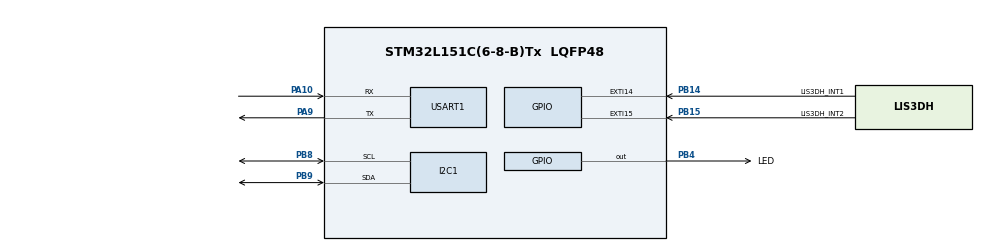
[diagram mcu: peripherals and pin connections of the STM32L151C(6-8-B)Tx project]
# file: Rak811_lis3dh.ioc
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Mcu.Family=STM32L1
Mcu.Name=STM32L151C(6-8-B)Tx
Mcu.Package=LQFP48
NVIC.EXTI15_10_IRQn=true\:0\:0\:false\:false\:true\:true
NVIC.PriorityGroup=NVIC_PRIORITYGROUP_4
PA10.Mode=Asynchronous
PA10.Signal=USART1_RX
PA13.Mode=Serial_Wire
PA13.Signal=SYS_JTMS-SWDIO
PA14.Mode=Serial_Wire
PA14.Signal=SYS_JTCK-SWCLK
PA9.Mode=Asynchronous
PA9.Signal=USART1_TX
PB14.GPIO_Label=LIS3DH_INT1
PB14.GPIO_PuPd=GPIO_PULLUP
PB14.Signal=GPXTI14
PB15.GPIO_Label=LIS3DH_INT2
PB15.GPIO_PuPd=GPIO_PULLUP
PB15.Signal=GPXTI15
PB4.GPIO_Label=LED
PB4.GPIO_Speed=GPIO_SPEED_FREQ_HIGH
PB4.PinState=GPIO_PIN_SET
PB4.Signal=GPIO_Output
PB8.Mode=I2C
PB8.Signal=I2C1_SCL
PB9.Mode=I2C
PB9.Signal=I2C1_SDA
PC14-OSC32_IN.Mode=LSE-External-Oscillator
PC14-OSC32_IN.Signal=RCC_OSC32_IN
PC15-OSC32_OUT.Mode=LSE-External-Oscillator
PC15-OSC32_OUT.Signal=RCC_OSC32_OUT
ProjectManager.HeapSize=0x200
ProjectManager.StackSize=0x400
ProjectManager.TargetToolchain=SW4STM32
RCC.48MHZClocksFreq_Value=32000000
RCC.AHBFreq_Value=32000000
RCC.APB1Freq_Value=32000000
RCC.APB1TimFreq_Value=32000000
RCC.APB2Freq_Value=32000000
RCC.APB2TimFreq_Value=32000000
RCC.HCLKFreq_Value=32000000
RCC.HSE_VALUE=24000000
RCC.HSI_VALUE=16000000
RCC.MSI_VALUE=2097000
RCC.PLLMUL=RCC_PLL_MUL4
RCC.SYSCLKFreq_VALUE=32000000
RCC.SYSCLKSource=RCC_SYSCLKSOURCE_PLLCLK
RCC.VCOOutputFreq_Value=64000000
USART1.VirtualMode=VM_ASYNC
board=custom

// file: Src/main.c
/**
  ******************************************************************************
  * @file           : main.c
  * @brief          : Main program body
  ******************************************************************************
  ** This notice applies to any and all portions of this file
  * that are not between comment pairs USER CODE BEGIN and
  * USER CODE END. Other portions of this file, whether
  * inserted by the user or by software development tools
  * are owned by their respective copyright owners.
  *
  * COPYRIGHT(c) 2018 STMicroelectronics
  *
  * Redistribution and use in source and binary forms, with or without modification,
  * are permitted provided that the following conditions are met:
  *   1. Redistributions of source code must retain the above copyright notice,
  *      this list of conditions and the following disclaimer.
  *   2. Redistributions in binary form must reproduce the above copyright notice,
  *      this list of conditions and the following disclaimer in the documentation
  *      and/or other materials provided with the distribution.
  *   3. Neither the name of STMicroelectronics nor the names of its contributors
  *      may be used to endorse or promote products derived from this software
  *      without specific prior written permission.
  *
  * THIS SOFTWARE IS PROVIDED BY THE COPYRIGHT HOLDERS AND CONTRIBUTORS "AS IS"
  * AND ANY EXPRESS OR IMPLIED WARRANTIES, INCLUDING, BUT NOT LIMITED TO, THE
  * IMPLIED WARRANTIES OF MERCHANTABILITY AND FITNESS FOR A PARTICULAR PURPOSE ARE
  * DISCLAIMED. IN NO EVENT SHALL THE COPYRIGHT HOLDER OR CONTRIBUTORS BE LIABLE
  * FOR ANY DIRECT, INDIRECT, INCIDENTAL, SPECIAL, EXEMPLARY, OR CONSEQUENTIAL
  * DAMAGES (INCLUDING, BUT NOT LIMITED TO, PROCUREMENT OF SUBSTITUTE GOODS OR
  * SERVICES; LOSS OF USE, DATA, OR PROFITS; OR BUSINESS INTERRUPTION) HOWEVER
  * CAUSED AND ON ANY THEORY OF LIABILITY, WHETHER IN CONTRACT, STRICT LIABILITY,
  * OR TORT (INCLUDING NEGLIGENCE OR OTHERWISE) ARISING IN ANY WAY OUT OF THE USE
  * OF THIS SOFTWARE, EVEN IF ADVISED OF THE POSSIBILITY OF SUCH DAMAGE.
  *
  ******************************************************************************
  */
#include "main.h"
#include "stm32l1xx_hal.h"

/* USER CODE BEGIN Includes */
#include "test.h"
#include "lis3dh.h"
#include "lis3dhDebug.h"
/* USER CODE END Includes */

I2C_HandleTypeDef hi2c1;

UART_HandleTypeDef huart1;

/* USER CODE BEGIN PV */
/* Private variables ---------------------------------------------------------*/

/* USER CODE END PV */

void SystemClock_Config(void);
static void MX_GPIO_Init(void);
static void MX_USART1_UART_Init(void);
static void MX_I2C1_Init(void);

/* USER CODE BEGIN PFP */
/* Private function prototypes -----------------------------------------------*/

/* USER CODE END PFP */

int main(void)
{
	/* USER CODE BEGIN 1 */
	status_t lis3dhretCode;
	int8_t temperature;
	uint8_t lis3dhStatus;
	//	uint8_t valueL,valueH;
	//	int16_t lis3dhAccX=-1, lis3dhAccY=-1,lis3dhAccZ=-1;
	AxesRaw_t lis3dhAxes;
	/* USER CODE END 1 */

	/* MCU Configuration----------------------------------------------------------*/

	/* Reset of all peripherals, Initializes the Flash interface and the Systick. */
	HAL_Init();

	/* Configure the system clock */
	SystemClock_Config();

	/* Initialize all configured peripherals */
	MX_GPIO_Init();
	MX_USART1_UART_Init();
	MX_I2C1_Init();
	/* USER CODE BEGIN 2 */
	printf("Rak811 LIS3DH accelerometer demo program\r\n");

	if (LIS3DH_Init())
		printf("main: lis3dh accelerometer successfully initialized\r\n");

	//  lis3dhPrintAllRegs();
	if (LIS3DH_SetODR((LIS3DH_ODR_t) LIS3DH_ODR_1Hz) != MEMS_SUCCESS)
		printf("main: Could not set sampling rate to 1 Hz\r\n");
	else
		printf("main: Sampling rate successfully set to 1 Hz\r\n");

	/*
  if (LIS3DH_SetFullScale(LIS3DH_FULLSCALE_8) != MEMS_SUCCESS)
	  printf("main: Could not set full scale to 8\r\n");
  else
	  printf("main: Full scale successfully set to 8\r\n");
	 */
	/* USER CODE END 2 */

	/* Infinite loop */
	/* USER CODE BEGIN WHILE */
	while (1)
	{
		if ((lis3dhretCode = LIS3DH_GetStatusReg(&lis3dhStatus)) != MEMS_SUCCESS)
			printf("main: Error when reading the status register\r\n");
		else {
			lis3dhretCode = MEMS_SUCCESS;
			printf("main: Status Reg before acceleration readout: 0x%02x\r\n",lis3dhStatus);
			/*
	      if (lis3dhStatus & LIS3DH_ZYXDA) {
	      lis3dhretCode &= LIS3DH_ReadReg(LIS3DH_OUT_X_L, &valueL);
	      lis3dhretCode &= LIS3DH_ReadReg(LIS3DH_OUT_X_H, &valueH);
	      lis3dhAccX = (valueH << 8) | valueL;

	      lis3dhretCode &= LIS3DH_ReadReg(LIS3DH_OUT_Y_L, &valueL);
	      lis3dhretCode &= LIS3DH_ReadReg(LIS3DH_OUT_Y_H, &valueH);
	      lis3dhAccY = (valueH << 8) | valueL;

	      lis3dhretCode &= LIS3DH_ReadReg(LIS3DH_OUT_Z_L, &valueL);
	      lis3dhretCode &= LIS3DH_ReadReg(LIS3DH_OUT_Z_H, &valueH);
	      lis3dhAccZ = (valueH << 8) | valueL;
	      }
	      if (lis3dhretCode) {
	      lis3dhAccX = lis3dhAccX >> 6;
	      lis3dhAccY = lis3dhAccY >> 6;
	      lis3dhAccZ = lis3dhAccZ >> 6;
	      printf("AccX : %d, AccY: %d, AccY: %d\r\n",lis3dhAccX,lis3dhAccY,lis3dhAccZ);
	      if (LIS3DH_GetStatusReg(&lis3dhStatus) == MEMS_SUCCESS)
	      printf("main: Status Reg after acceleration readout: 0x%02x\r\n",lis3dhStatus);
	      }
	      else
	      printf("main: Error when reading acceleration values\r\n");
	      }
			 */
			if (lis3dhStatus & LIS3DH_ZYXDA) {
				if (LIS3DH_GetAccAxes(&lis3dhAxes) != MEMS_SUCCESS)
					printf("main: Error when reading acceleration values\r\n");
				else
					printf("main: AccX : %d, AccY: %d, AccZ: %d\r\n",lis3dhAxes.AXIS_X,lis3dhAxes.AXIS_Y,lis3dhAxes.AXIS_Z);
			}

			/* check status bits for temperature acquisition */
			if ((lis3dhretCode = LIS3DH_ReadReg(LIS3DH_CTRL_REG4, &lis3dhStatus)) != MEMS_SUCCESS)
				printf("main: Error when reading control register 4\r\n");
			else {
				printf("main: register 4 content: 0x%02x\r\n",lis3dhStatus);
				if (lis3dhStatus & (MEMS_SET << LIS3DH_BDU))
					printf("main: BDU bit correctly set in control register 4\r\n");
				else
					printf("main: BDU bit is NOT set in control register 4\r\n");
			}
			/* check ADC_EN bit in temp cfg register */
			if ((lis3dhretCode = LIS3DH_ReadReg(LIS3DH_TEMP_CFG_REG, &lis3dhStatus)) != MEMS_SUCCESS)
				printf("main: Error when reading control register 4\r\n");
			else {
				printf("main: temp cfg register content: 0x%02x\r\n",lis3dhStatus);

				if (lis3dhStatus & (MEMS_SET << LIS3DH_ADC_EN) )
					printf("main: ADC enable bit correctly set in temp cfg register\r\n");
				else
					printf("main: ADC enable bit is NOT set in temp cfg register\r\n");

				if (lis3dhStatus & (MEMS_SET << LIS3DH_TEMP_EN) )
					printf("main: temperature enable bit correctly set in temp cfg register\r\n");
				else
					printf("main: temperature enable bit is NOT set in temp cfg register\r\n");
			}

			if ((lis3dhretCode = LIS3DH_GetTempRaw(&temperature)) != MEMS_SUCCESS)
				printf("main: Error when reading raw temperature\r\n");
			else {
				printf("main: temperature: %02d degrees C\r\n",(uint8_t)temperature);

			}

			HAL_Delay(10000);
			/* USER CODE END WHILE */

		}

	}
}

  /**
   * @brief System Clock Configuration
   * @retval None
   */
  void SystemClock_Config(void)
  {

	  RCC_OscInitTypeDef RCC_OscInitStruct;
	  RCC_ClkInitTypeDef RCC_ClkInitStruct;

	  /**Configure the main internal regulator output voltage
	   */
	  __HAL_PWR_VOLTAGESCALING_CONFIG(PWR_REGULATOR_VOLTAGE_SCALE1);

	  /**Initializes the CPU, AHB and APB busses clocks
	   */
  RCC_OscInitStruct.OscillatorType = RCC_OSCILLATORTYPE_HSI;
  RCC_OscInitStruct.HSIState = RCC_HSI_ON;
  RCC_OscInitStruct.HSICalibrationValue = 16;
  RCC_OscInitStruct.PLL.PLLState = RCC_PLL_ON;
  RCC_OscInitStruct.PLL.PLLSource = RCC_PLLSOURCE_HSI;
  RCC_OscInitStruct.PLL.PLLMUL = RCC_PLL_MUL4;
  RCC_OscInitStruct.PLL.PLLDIV = RCC_PLL_DIV2;
  if (HAL_RCC_OscConfig(&RCC_OscInitStruct) != HAL_OK)
  {
    _Error_Handler(__FILE__, __LINE__);
  }

    /**Initializes the CPU, AHB and APB busses clocks
    */
  RCC_ClkInitStruct.ClockType = RCC_CLOCKTYPE_HCLK|RCC_CLOCKTYPE_SYSCLK
                              |RCC_CLOCKTYPE_PCLK1|RCC_CLOCKTYPE_PCLK2;
  RCC_ClkInitStruct.SYSCLKSource = RCC_SYSCLKSOURCE_PLLCLK;
  RCC_ClkInitStruct.AHBCLKDivider = RCC_SYSCLK_DIV1;
  RCC_ClkInitStruct.APB1CLKDivider = RCC_HCLK_DIV1;
  RCC_ClkInitStruct.APB2CLKDivider = RCC_HCLK_DIV1;

  if (HAL_RCC_ClockConfig(&RCC_ClkInitStruct, FLASH_LATENCY_1) != HAL_OK)
  {
    _Error_Handler(__FILE__, __LINE__);
  }

    /**Configure the Systick interrupt time
    */
  HAL_SYSTICK_Config(HAL_RCC_GetHCLKFreq()/1000);

    /**Configure the Systick
    */
  HAL_SYSTICK_CLKSourceConfig(SYSTICK_CLKSOURCE_HCLK);

  /* SysTick_IRQn interrupt configuration */
  HAL_NVIC_SetPriority(SysTick_IRQn, 0, 0);
}

/* I2C1 init function */
static void MX_I2C1_Init(void)
{

  hi2c1.Instance = I2C1;
  hi2c1.Init.ClockSpeed = 100000;
  hi2c1.Init.DutyCycle = I2C_DUTYCYCLE_2;
  hi2c1.Init.OwnAddress1 = 0;
  hi2c1.Init.AddressingMode = I2C_ADDRESSINGMODE_7BIT;
  hi2c1.Init.DualAddressMode = I2C_DUALADDRESS_DISABLE;
  hi2c1.Init.OwnAddress2 = 0;
  hi2c1.Init.GeneralCallMode = I2C_GENERALCALL_DISABLE;
  hi2c1.Init.NoStretchMode = I2C_NOSTRETCH_DISABLE;
  if (HAL_I2C_Init(&hi2c1) != HAL_OK)
  {
    _Error_Handler(__FILE__, __LINE__);
  }

}

/* USART1 init function */
static void MX_USART1_UART_Init(void)
{

  huart1.Instance = USART1;
  huart1.Init.BaudRate = 115200;
  huart1.Init.WordLength = UART_WORDLENGTH_8B;
  huart1.Init.StopBits = UART_STOPBITS_1;
  huart1.Init.Parity = UART_PARITY_NONE;
  huart1.Init.Mode = UART_MODE_TX_RX;
  huart1.Init.HwFlowCtl = UART_HWCONTROL_NONE;
  huart1.Init.OverSampling = UART_OVERSAMPLING_16;
  if (HAL_UART_Init(&huart1) != HAL_OK)
  {
    _Error_Handler(__FILE__, __LINE__);
  }

}

/** Configure pins as
        * Analog
        * Input
        * Output
        * EVENT_OUT
        * EXTI
*/
static void MX_GPIO_Init(void)
{

  GPIO_InitTypeDef GPIO_InitStruct;

  /* GPIO Ports Clock Enable */
  __HAL_RCC_GPIOC_CLK_ENABLE();
  __HAL_RCC_GPIOB_CLK_ENABLE();
  __HAL_RCC_GPIOA_CLK_ENABLE();

  /*Configure GPIO pin Output Level */
  HAL_GPIO_WritePin(LED_GPIO_Port, LED_Pin, GPIO_PIN_SET);

  /*Configure GPIO pins : LIS3DH_INT1_Pin LIS3DH_INT2_Pin */
  GPIO_InitStruct.Pin = LIS3DH_INT1_Pin|LIS3DH_INT2_Pin;
  GPIO_InitStruct.Mode = GPIO_MODE_IT_RISING;
  GPIO_InitStruct.Pull = GPIO_PULLUP;
  HAL_GPIO_Init(GPIOB, &GPIO_InitStruct);

  /*Configure GPIO pin : LED_Pin */
  GPIO_InitStruct.Pin = LED_Pin;
  GPIO_InitStruct.Mode = GPIO_MODE_OUTPUT_PP;
  GPIO_InitStruct.Pull = GPIO_NOPULL;
  GPIO_InitStruct.Speed = GPIO_SPEED_FREQ_HIGH;
  HAL_GPIO_Init(LED_GPIO_Port, &GPIO_InitStruct);

  /* EXTI interrupt init*/
  HAL_NVIC_SetPriority(EXTI15_10_IRQn, 0, 0);
  HAL_NVIC_EnableIRQ(EXTI15_10_IRQn);

}

void _Error_Handler(char *file, int line)
{
  while(1)
  {
  }
}

/************************ (C) COPYRIGHT STMicroelectronics *****END OF FILE****/
